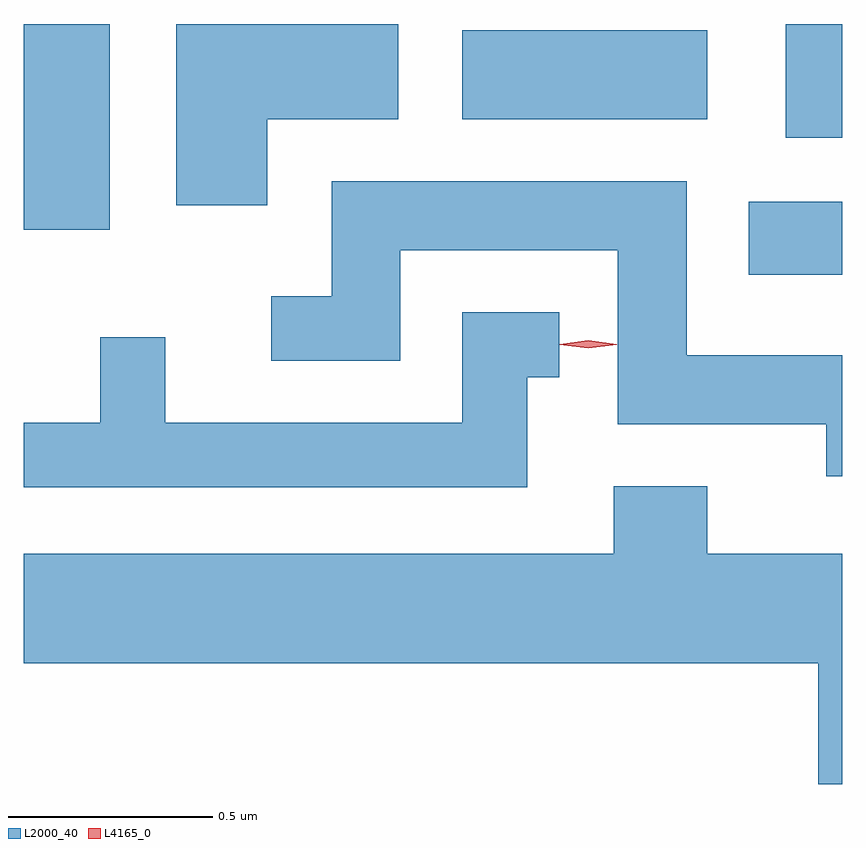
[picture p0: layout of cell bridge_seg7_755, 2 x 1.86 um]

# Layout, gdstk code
import gdstk
lib = gdstk.Library(unit=1e-6, precision=1e-09)
def R(c, l, rs):  # rectangles x0, y0, x1, y1
    for r in rs: c.add(gdstk.rectangle(r[:2], r[2:], *l))
def P(c, l, *ps):  # polygons
    for p in ps: c.add(gdstk.Polygon(p, *l))
L2000_40 = (2000, 40)
L4165_0 = (4165, 0)

bridge_seg7_755 = lib.new_cell('bridge_seg7_755')
R(bridge_seg7_755, L2000_40, [(543.091,1746.346,543.319,1746.524), (541.319,1746.456,541.529,1746.959), (543.181,1746.681,543.319,1746.959), (542.391,1746.726,542.989,1746.944)])
P(bridge_seg7_755, L2000_40, [(541.914,1746.726),(542.234,1746.726),(542.234,1746.959),(541.691,1746.959),(541.691,1746.516),(541.914,1746.516)],
  [(543.319,1746.149),(542.939,1746.149),(542.939,1746.574),(542.071,1746.574),(542.071,1746.294),(541.923,1746.294),(541.923,1746.136),(542.239,1746.136),(542.239,1746.406),(542.771,1746.406),(542.771,1745.981),(543.281,1745.981),(543.281,1745.853),(543.319,1745.853)],
  [(542.549,1746.096),(542.628,1746.096),(542.628,1746.254),(542.391,1746.254),(542.391,1745.984),(541.664,1745.984),(541.664,1746.193),(541.506,1746.193),(541.506,1745.984),(541.319,1745.984),(541.319,1745.826),(542.549,1745.826)],
  [(543.319,1745.664),(542.989,1745.664),(542.989,1745.829),(542.761,1745.829),(542.761,1745.664),(541.319,1745.664),(541.319,1745.396),(543.261,1745.396),(543.261,1745.101),(543.319,1745.101)])
P(bridge_seg7_755, L4165_0, [(542.698,1746.166),(542.629,1746.175),(542.629,1746.175),(542.629,1746.176),(542.698,1746.186),(542.768,1746.176),(542.768,1746.176),(542.768,1746.175)])

lib.write_gds('bridge_seg7_755.gds')
